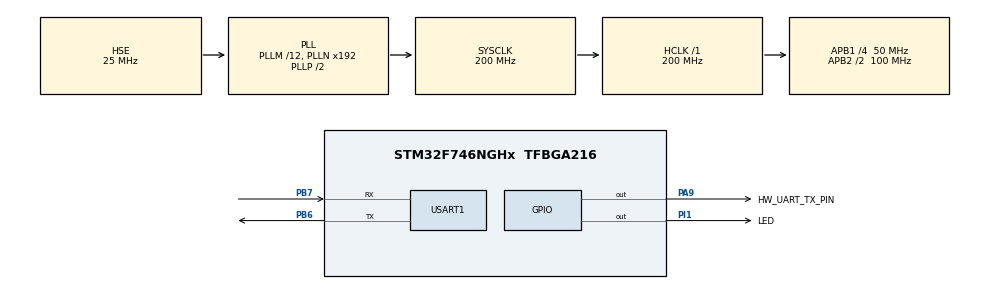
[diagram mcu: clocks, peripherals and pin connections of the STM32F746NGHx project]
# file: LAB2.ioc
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Mcu.Family=STM32F7
Mcu.Name=STM32F746NGHx
Mcu.Package=TFBGA216
NVIC.PriorityGroup=NVIC_PRIORITYGROUP_4
NVIC.TIM1_UP_TIM10_IRQn=true\:15\:0\:false\:false\:true\:false\:true
NVIC.TimeBase=TIM1_UP_TIM10_IRQn
NVIC.TimeBaseIP=TIM1
PA9.GPIO_Label=HW_UART_TX_PIN
PA9.GPIO_Speed=GPIO_SPEED_FREQ_VERY_HIGH
PA9.PinState=GPIO_PIN_SET
PA9.Signal=GPIO_Output
PB6.Mode=Asynchronous
PB6.Signal=USART1_TX
PB7.Mode=Asynchronous
PB7.Signal=USART1_RX
PC14/OSC32_IN.Mode=LSE-External-Oscillator
PC14/OSC32_IN.Signal=RCC_OSC32_IN
PC15/OSC32_OUT.Mode=LSE-External-Oscillator
PC15/OSC32_OUT.Signal=RCC_OSC32_OUT
PH0/OSC_IN.Mode=HSE-External-Oscillator
PH0/OSC_IN.Signal=RCC_OSC_IN
PH1/OSC_OUT.Mode=HSE-External-Oscillator
PH1/OSC_OUT.Signal=RCC_OSC_OUT
PI1.GPIO_Label=LED
PI1.GPIO_Speed=GPIO_SPEED_FREQ_VERY_HIGH
PI1.PinState=GPIO_PIN_SET
PI1.Signal=GPIO_Output
ProjectManager.HeapSize=0x200
ProjectManager.StackSize=0x400
ProjectManager.TargetToolchain=STM32CubeIDE
RCC.AHBFreq_Value=200000000
RCC.APB1CLKDivider=RCC_HCLK_DIV4
RCC.APB1Freq_Value=50000000
RCC.APB1TimFreq_Value=100000000
RCC.APB2CLKDivider=RCC_HCLK_DIV2
RCC.APB2Freq_Value=100000000
RCC.APB2TimFreq_Value=200000000
RCC.CortexFreq_Value=200000000
RCC.HCLKFreq_Value=200000000
RCC.HSE_VALUE=25000000
RCC.HSI_VALUE=16000000
RCC.PLLM=12
RCC.PLLSourceVirtual=RCC_PLLSOURCE_HSE
RCC.SYSCLKFreq_VALUE=200000000
RCC.SYSCLKSource=RCC_SYSCLKSOURCE_PLLCLK
RCC.USBFreq_Value=200000000
RCC.VCOOutputFreq_Value=400000000
USART1.VirtualMode-Asynchronous=VM_ASYNC
VP_SYS_VS_tim1.Mode=TIM1
board=STM32F746G-DISCO

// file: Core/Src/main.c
/* USER CODE BEGIN Header */
/**
 ******************************************************************************
 * @file           : main.c
 * @brief          : Main program body
 ******************************************************************************
 * @attention
 *
 * <h2><center>&copy; Copyright (c) 2023 STMicroelectronics.
 * All rights reserved.</center></h2>
 *
 * This software component is licensed by ST under BSD 3-Clause license,
 * the "License"; You may not use this file except in compliance with the
 * License. You may obtain a copy of the License at:
 *                        opensource.org/licenses/BSD-3-Clause
 *
 ******************************************************************************
 */
/* USER CODE END Header */
#include "main.h"

UART_HandleTypeDef huart1;

void SystemClock_Config(void);
static void MX_GPIO_Init(void);
static void MX_USART1_UART_Init(void);

/* USER CODE BEGIN 0 */
void sendChar(char);
void __attribute__((naked)) SysTickDelayCount(unsigned long);
/* USER CODE END 0 */

int main(void)
{

  /* MCU Configuration--------------------------------------------------------*/

  /* Reset of all peripherals, Initializes the Flash interface and the Systick. */
  HAL_Init();

  /* Configure the system clock */
  SystemClock_Config();

  /* Initialize all configured peripherals */
  MX_GPIO_Init();
  MX_USART1_UART_Init();

  /* Infinite loop */
	while (1)
	{

    /* USER CODE BEGIN 3 */
		//printf("%d\r\n", 1);
		//HAL_UART_Transmit(&huart1, (uint8_t*)'8', strlen('1'), HAL_MAX_DELAY);
		sendChar('w');
		HAL_Delay(10);
	}
  /* USER CODE END 3 */
}

void SystemClock_Config(void)
{
  RCC_OscInitTypeDef RCC_OscInitStruct = {0};
  RCC_ClkInitTypeDef RCC_ClkInitStruct = {0};
  RCC_PeriphCLKInitTypeDef PeriphClkInitStruct = {0};

  /** Configure LSE Drive Capability
  */
  HAL_PWR_EnableBkUpAccess();
  /** Configure the main internal regulator output voltage
  */
  __HAL_RCC_PWR_CLK_ENABLE();
  __HAL_PWR_VOLTAGESCALING_CONFIG(PWR_REGULATOR_VOLTAGE_SCALE1);
  /** Initializes the RCC Oscillators according to the specified parameters
  * in the RCC_OscInitTypeDef structure.
  */
  RCC_OscInitStruct.OscillatorType = RCC_OSCILLATORTYPE_HSE;
  RCC_OscInitStruct.HSEState = RCC_HSE_ON;
  RCC_OscInitStruct.PLL.PLLState = RCC_PLL_ON;
  RCC_OscInitStruct.PLL.PLLSource = RCC_PLLSOURCE_HSE;
  RCC_OscInitStruct.PLL.PLLM = 12;
  RCC_OscInitStruct.PLL.PLLN = 192;
  RCC_OscInitStruct.PLL.PLLP = RCC_PLLP_DIV2;
  RCC_OscInitStruct.PLL.PLLQ = 2;
  if (HAL_RCC_OscConfig(&RCC_OscInitStruct) != HAL_OK)
  {
    Error_Handler();
  }
  /** Activate the Over-Drive mode
  */
  if (HAL_PWREx_EnableOverDrive() != HAL_OK)
  {
    Error_Handler();
  }
  /** Initializes the CPU, AHB and APB buses clocks
  */
  RCC_ClkInitStruct.ClockType = RCC_CLOCKTYPE_HCLK|RCC_CLOCKTYPE_SYSCLK
                              |RCC_CLOCKTYPE_PCLK1|RCC_CLOCKTYPE_PCLK2;
  RCC_ClkInitStruct.SYSCLKSource = RCC_SYSCLKSOURCE_PLLCLK;
  RCC_ClkInitStruct.AHBCLKDivider = RCC_SYSCLK_DIV1;
  RCC_ClkInitStruct.APB1CLKDivider = RCC_HCLK_DIV4;
  RCC_ClkInitStruct.APB2CLKDivider = RCC_HCLK_DIV2;

  if (HAL_RCC_ClockConfig(&RCC_ClkInitStruct, FLASH_LATENCY_6) != HAL_OK)
  {
    Error_Handler();
  }
  PeriphClkInitStruct.PeriphClockSelection = RCC_PERIPHCLK_USART1;
  PeriphClkInitStruct.Usart1ClockSelection = RCC_USART1CLKSOURCE_PCLK2;
  if (HAL_RCCEx_PeriphCLKConfig(&PeriphClkInitStruct) != HAL_OK)
  {
    Error_Handler();
  }
}

static void MX_USART1_UART_Init(void)
{

  huart1.Instance = USART1;
  huart1.Init.BaudRate = 115200;
  huart1.Init.WordLength = UART_WORDLENGTH_8B;
  huart1.Init.StopBits = UART_STOPBITS_1;
  huart1.Init.Parity = UART_PARITY_NONE;
  huart1.Init.Mode = UART_MODE_TX_RX;
  huart1.Init.HwFlowCtl = UART_HWCONTROL_NONE;
  huart1.Init.OverSampling = UART_OVERSAMPLING_16;
  huart1.Init.OneBitSampling = UART_ONE_BIT_SAMPLE_DISABLE;
  huart1.AdvancedInit.AdvFeatureInit = UART_ADVFEATURE_NO_INIT;
  if (HAL_UART_Init(&huart1) != HAL_OK)
  {
    Error_Handler();
  }

}

static void MX_GPIO_Init(void)
{
  GPIO_InitTypeDef GPIO_InitStruct = {0};

  /* GPIO Ports Clock Enable */
  __HAL_RCC_GPIOB_CLK_ENABLE();
  __HAL_RCC_GPIOI_CLK_ENABLE();
  __HAL_RCC_GPIOC_CLK_ENABLE();
  __HAL_RCC_GPIOA_CLK_ENABLE();
  __HAL_RCC_GPIOH_CLK_ENABLE();

  /*Configure GPIO pin Output Level */
  HAL_GPIO_WritePin(LED_GPIO_Port, LED_Pin, GPIO_PIN_SET);

  /*Configure GPIO pin Output Level */
  HAL_GPIO_WritePin(HW_UART_TX_PIN_GPIO_Port, HW_UART_TX_PIN_Pin, GPIO_PIN_SET);

  /*Configure GPIO pin : LED_Pin */
  GPIO_InitStruct.Pin = LED_Pin;
  GPIO_InitStruct.Mode = GPIO_MODE_OUTPUT_PP;
  GPIO_InitStruct.Pull = GPIO_NOPULL;
  GPIO_InitStruct.Speed = GPIO_SPEED_FREQ_VERY_HIGH;
  HAL_GPIO_Init(LED_GPIO_Port, &GPIO_InitStruct);

  /*Configure GPIO pin : HW_UART_TX_PIN_Pin */
  GPIO_InitStruct.Pin = HW_UART_TX_PIN_Pin;
  GPIO_InitStruct.Mode = GPIO_MODE_OUTPUT_PP;
  GPIO_InitStruct.Pull = GPIO_NOPULL;
  GPIO_InitStruct.Speed = GPIO_SPEED_FREQ_VERY_HIGH;
  HAL_GPIO_Init(HW_UART_TX_PIN_GPIO_Port, &GPIO_InitStruct);

}

/* USER CODE BEGIN 4 */

void sendChar(char data){
	#define BAUDRATE 9600;	//104.2µs -> interpolatie -> 20750

	uint8_t output = 0x00;
	uint8_t mask = 0x01;
	uint8_t shift = 0x00;

	//init
	HAL_GPIO_WritePin(HW_UART_TX_PIN_GPIO_Port, HW_UART_TX_PIN_Pin, 1);
	HAL_GPIO_WritePin(LED_GPIO_Port, LED_Pin, 1);
	SysTickDelayCount(20750);

	//startbit
	HAL_GPIO_WritePin(HW_UART_TX_PIN_GPIO_Port, HW_UART_TX_PIN_Pin, 0);
	HAL_GPIO_WritePin(LED_GPIO_Port, LED_Pin, 0);
	SysTickDelayCount(20750);

	shift = data;

	for(int i = 0; i < 8;i++){
		output = shift & mask;
		if(output == 0x01){
			HAL_GPIO_WritePin(HW_UART_TX_PIN_GPIO_Port, HW_UART_TX_PIN_Pin, 1);
			HAL_GPIO_WritePin(LED_GPIO_Port, LED_Pin, 1);
		}
		else{
			HAL_GPIO_WritePin(HW_UART_TX_PIN_GPIO_Port, HW_UART_TX_PIN_Pin, 0);
			HAL_GPIO_WritePin(LED_GPIO_Port, LED_Pin, 0);
		}
		SysTickDelayCount(20750);
		shift = (shift >> 1);
	}
	//stopbit
	HAL_GPIO_WritePin(HW_UART_TX_PIN_GPIO_Port, HW_UART_TX_PIN_Pin, 1);
	HAL_GPIO_WritePin(LED_GPIO_Port, LED_Pin, 1);
	SysTickDelayCount(20750);

}

void __attribute__((naked)) SysTickDelayCount(unsigned long ulCount)
{
    __asm("    subs    r0, #1\n"
          "    bne.n     SysTickDelayCount\n"
          "    bx      lr");
}

/* USER CODE END 4 */

void HAL_TIM_PeriodElapsedCallback(TIM_HandleTypeDef *htim)
{
  if (htim->Instance == TIM1) {
    HAL_IncTick();
  }
}

void Error_Handler(void)
{
	__disable_irq();
	while (1)
	{
	}
}

/************************ (C) COPYRIGHT STMicroelectronics *****END OF FILE****/
